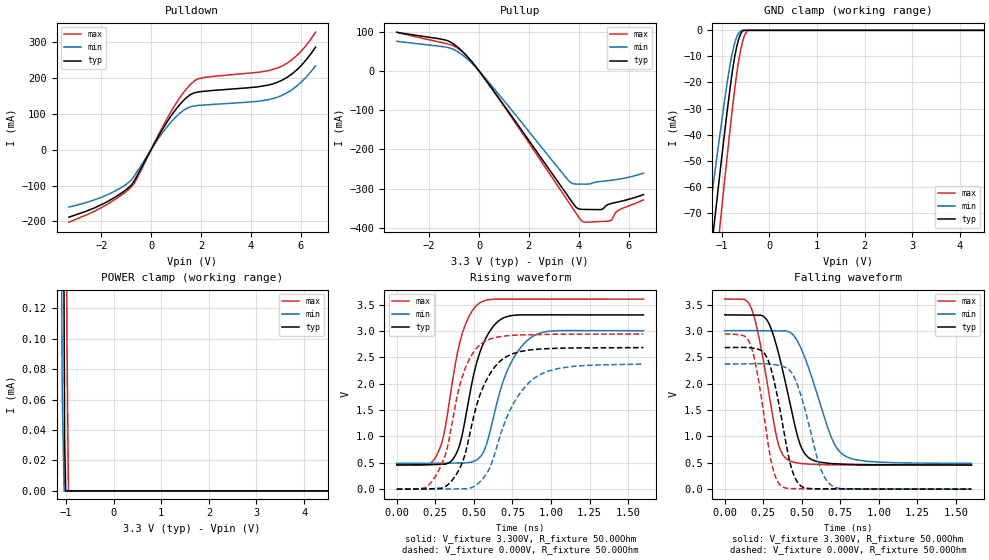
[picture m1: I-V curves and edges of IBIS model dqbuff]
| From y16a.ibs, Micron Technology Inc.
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|   dqbuff MODEL
[Model]   dqbuff
Model_type   I/O
Vinl = 800.000mV
Vinh = 2.000V
Vmeas = 1.500V
Cref = 50.000pF
|   typ   min   max
C_comp   3.920pF   3.120pF   4.650pF
[Voltage Range]   3.300V   3.000V   3.600V
[Temperature Range]   25.0   85.0   0.0
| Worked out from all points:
|   slope of the pulldown table from 0 to 0.495 V, typ, clamps not added: 8.14 ohm
|   slope of the pullup table from 0 to 0.495 V, typ, clamps not added: 11.6 ohm
|   GND clamp passes 1 mA (typ) near -0.59 V on its own axis
|   POWER clamp passes 1 mA (typ) near -1.14 V on its own axis
|   falling waveform, V_fixture 3.300V, R_fixture 50.00Ohm: 20-80 % time 136ps typ, 171ps min, 115ps max; typ from 3.31 V to 0.456 V
|   rising waveform, V_fixture 3.300V, R_fixture 50.00Ohm: 20-80 % time 134ps typ, 165ps min, 119ps max; typ from 0.456 V to 3.31 V
|   rising waveform, V_fixture 0.000V, R_fixture 50.00Ohm: 20-80 % time 168ps typ, 207ps min, 146ps max; typ from -0.003 V to 2.69 V
|   falling waveform, V_fixture 0.000V, R_fixture 50.00Ohm: 20-80 % time 108ps typ, 131ps min, 96ps max; typ from 2.69 V to -0.003 V
[Pulldown]
|   Voltage   I(typ)   I(min)   I(max)
-3.3V     -188.2mA   -160mA     -202.1mA
-1.69V    -142.4mA   NA         NA
-1.15V    -119.2mA   NA         NA
-750mV    -94.59mA   NA         NA
670mV     80.25mA    NA         NA
1.25V     133.4mA    NA         NA
1.73V     158.2mA    NA         NA
2.35V     164mA      NA         NA
4.27V     174.7mA    NA         NA
5.03V     186.4mA    NA         NA
5.85V     222.3mA    NA         NA
6.6V      285.5mA    233.3mA    327.3mA
[GND Clamp]
|   Voltage   I(typ)   I(min)   I(max)
-3.3V     -892.7mA   -853.1mA   -955.1mA
-1.39V    -112.2mA   NA         NA
-1.17V    -75.68mA   NA         NA
-1.01V    -49.75mA   NA         NA
-890mV    -31.11mA   NA         NA
-770mV    -14.55mA   NA         -28.52mA
-690mV    -6.375mA   NA         -16.84mA
-650mV    -3.545mA   NA         NA
-590mV    -872.2uA   NA         NA
-550mV    -32.98uA   NA         NA
-450mV    0A         NA         NA
6.6V      0A         0A         0A
[Pullup]
|   Voltage   I(typ)   I(min)   I(max)
-3.3V     98.35mA    75.72mA    98.86mA
-1.27V    77.04mA    NA         NA
-930mV    64.4mA     NA         NA
-490mV    38.03mA    NA         NA
550mV     -47.44mA   NA         NA
3.77V     -336.9mA   NA         NA
3.93V     -348.8mA   NA         NA
4.13V     -352.5mA   NA         -381.9mA
4.91V     -352.7mA   NA         NA
5.21V     -339.3mA   NA         NA
5.75V     -331mA     NA         -349.9mA
6.6V      -314.8mA   -260.3mA   -328.3mA
[POWER Clamp]
|   Voltage   I(typ)   I(min)   I(max)
-3.3V     42.88mA    36.45mA    48.25mA
-1.11V    709uA      NA         1.557mA
-1.07V    338.1uA    NA         NA
-1.03V    32.82uA    NA         NA
-1.01V    0A         NA         364.6uA
6.6V      0A         0A         0A
[Ramp]
R_load = 50.00Ohm
|   typ   min   max
dV/dt_r   1.613V/167.327ps   1.425V/206.563ps   1.767V/145.913ps
dV/dt_f   1.710V/135.854ps   1.512V/171.247ps   1.892V/114.580ps
[Falling Waveform]
V_fixture = 3.300V
V_fixture_min = 3.000V
V_fixture_max = 3.600V
R_fixture = 50.00Ohm
|   Time   V(typ)   V(min)   V(max)
0s        3.305V     3.005V     3.605V
230ps     3.299V     NA         NA
290ps     3.122V     NA         NA
340ps     2.677V     NA         NA
400ps     1.941V     NA         NA
470ps     1.028V     NA         NA
520ps     667.2mV    NA         NA
680ps     485.4mV    NA         NA
760ps     471.7mV    NA         NA
1.6ns     455.6mV    486.2mV    452.2mV
[Rising Waveform]
V_fixture = 3.300V
V_fixture_min = 3.000V
V_fixture_max = 3.600V
R_fixture = 50.00Ohm
|   Time   V(typ)   V(min)   V(max)
0s        455.6mV    486.2mV    452.2mV
190ps     458.9mV    NA         NA
310ps     470.3mV    NA         NA
370ps     591.7mV    NA         NA
440ps     1.262V     NA         NA
540ps     2.606V     NA         NA
640ps     3.136V     NA         NA
700ps     3.259V     NA         NA
800ps     3.306V     NA         NA
1.6ns     3.305V     3.005V     3.605V
[Rising Waveform]
V_fixture = 0.000V
V_fixture_min = 0.000V
V_fixture_max = 0.000V
R_fixture = 50.00Ohm
|   Time   V(typ)   V(min)   V(max)
0s        -2.756mV   -3.204mV   -2.564mV
200ps     1.247mV    NA         NA
310ps     36.6mV     NA         NA
360ps     167.5mV    NA         NA
450ps     739.3mV    NA         NA
520ps     1.614V     NA         NA
570ps     2.001V     NA         NA
750ps     2.567V     NA         NA
930ps     2.658V     NA         NA
1.6ns     2.685V     2.371V     2.942V
[Falling Waveform]
V_fixture = 0.000V
V_fixture_min = 0.000V
V_fixture_max = 0.000V
R_fixture = 50.00Ohm
|   Time   V(typ)   V(min)   V(max)
0s        2.685V     2.371V     2.942V
170ps     2.679V     NA         NA
280ps     2.456V     NA         NA
320ps     2.054V     NA         NA
370ps     1.324V     NA         NA
430ps     429.1mV    NA         NA
490ps     66.83mV    NA         NA
590ps     4.277mV    NA         NA
930ps     -1.299mV   NA         NA
1.6ns     -2.756mV   -3.204mV   -2.564mV
